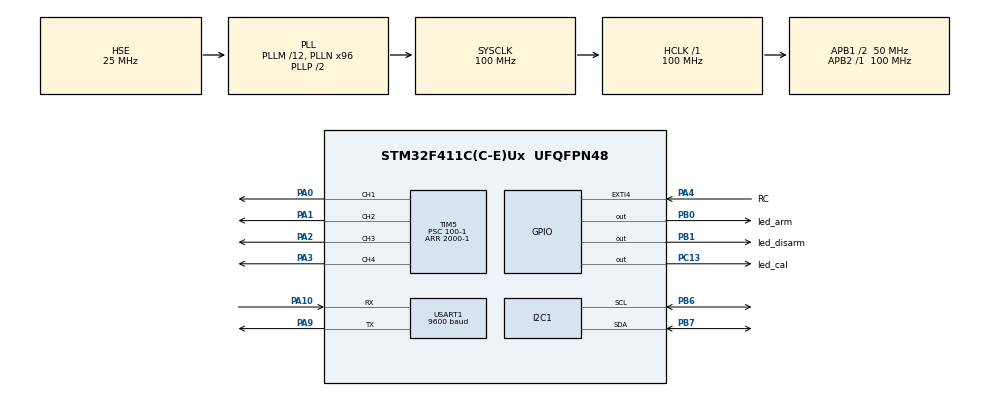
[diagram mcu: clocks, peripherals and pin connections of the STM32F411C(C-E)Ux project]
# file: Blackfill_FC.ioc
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Dma.Request0=USART1_RX
Dma.USART1_RX.0.Direction=DMA_PERIPH_TO_MEMORY
Dma.USART1_RX.0.FIFOMode=DMA_FIFOMODE_DISABLE
Dma.USART1_RX.0.Instance=DMA2_Stream2
Dma.USART1_RX.0.MemDataAlignment=DMA_MDATAALIGN_BYTE
Dma.USART1_RX.0.MemInc=DMA_MINC_ENABLE
Dma.USART1_RX.0.Mode=DMA_CIRCULAR
Dma.USART1_RX.0.PeriphDataAlignment=DMA_PDATAALIGN_BYTE
Dma.USART1_RX.0.PeriphInc=DMA_PINC_DISABLE
Dma.USART1_RX.0.Priority=DMA_PRIORITY_LOW
I2C1.I2C_Mode=I2C_Fast
Mcu.Family=STM32F4
Mcu.Name=STM32F411C(C-E)Ux
Mcu.Package=UFQFPN48
NVIC.DMA2_Stream2_IRQn=true\:0\:0\:false\:false\:true\:false\:true\:true
NVIC.EXTI4_IRQn=true\:0\:0\:false\:false\:true\:true\:true\:true
NVIC.PriorityGroup=NVIC_PRIORITYGROUP_4
NVIC.TIM1_TRG_COM_TIM11_IRQn=true\:0\:0\:false\:false\:true\:true\:true\:true
NVIC.USART1_IRQn=true\:0\:0\:false\:false\:true\:true\:true\:true
PA0-WKUP.Signal=S_TIM5_CH1
PA1.Signal=S_TIM5_CH2
PA10.Mode=Asynchronous
PA10.Signal=USART1_RX
PA13.Mode=Serial_Wire
PA13.Signal=SYS_JTMS-SWDIO
PA14.Mode=Serial_Wire
PA14.Signal=SYS_JTCK-SWCLK
PA2.Signal=S_TIM5_CH3
PA3.Signal=S_TIM5_CH4
PA4.GPIO_Label=RC
PA4.Signal=GPXTI4
PA9.Mode=Asynchronous
PA9.Signal=USART1_TX
PB0.GPIO_Label=led_arm
PB0.Signal=GPIO_Output
PB1.GPIO_Label=led_disarm
PB1.Signal=GPIO_Output
PB6.Mode=I2C
PB6.Signal=I2C1_SCL
PB7.Mode=I2C
PB7.Signal=I2C1_SDA
PC13-ANTI_TAMP.GPIO_Label=led_cal
PC13-ANTI_TAMP.Signal=GPIO_Output
PH0\ -\ OSC_IN.Mode=HSE-External-Oscillator
PH0\ -\ OSC_IN.Signal=RCC_OSC_IN
PH1\ -\ OSC_OUT.Mode=HSE-External-Oscillator
PH1\ -\ OSC_OUT.Signal=RCC_OSC_OUT
ProjectManager.HeapSize=0x200
ProjectManager.StackSize=0x400
ProjectManager.TargetToolchain=STM32CubeIDE
RCC.48MHZClocksFreq_Value=50000000
RCC.AHBFreq_Value=100000000
RCC.APB1CLKDivider=RCC_HCLK_DIV2
RCC.APB1Freq_Value=50000000
RCC.APB1TimFreq_Value=100000000
RCC.APB2Freq_Value=100000000
RCC.APB2TimFreq_Value=100000000
RCC.CortexFreq_Value=100000000
RCC.HCLKFreq_Value=100000000
RCC.HSE_VALUE=25000000
RCC.HSI_VALUE=16000000
RCC.LSE_VALUE=32768
RCC.PLLM=12
RCC.PLLN=96
RCC.PLLSourceVirtual=RCC_PLLSOURCE_HSE
RCC.SYSCLKFreq_VALUE=100000000
RCC.SYSCLKSource=RCC_SYSCLKSOURCE_PLLCLK
RCC.VCOOutputFreq_Value=200000000
SH.S_TIM5_CH1.0=TIM5_CH1,PWM Generation1 CH1
SH.S_TIM5_CH2.0=TIM5_CH2,PWM Generation2 CH2
SH.S_TIM5_CH3.0=TIM5_CH3,PWM Generation3 CH3
SH.S_TIM5_CH4.0=TIM5_CH4,PWM Generation4 CH4
TIM10.Prescaler=100-1
TIM11.Period=0xffff
TIM11.Prescaler=100-1
TIM5.Channel-PWM\ Generation1\ CH1=TIM_CHANNEL_1
TIM5.Channel-PWM\ Generation2\ CH2=TIM_CHANNEL_2
TIM5.Channel-PWM\ Generation3\ CH3=TIM_CHANNEL_3
TIM5.Channel-PWM\ Generation4\ CH4=TIM_CHANNEL_4
TIM5.Period=2000-1
TIM5.Prescaler=100-1
USART1.BaudRate=9600
USART1.VirtualMode=VM_ASYNC
VP_TIM10_VS_ClockSourceINT.Mode=Enable_Timer
VP_TIM11_VS_ClockSourceINT.Mode=Enable_Timer
VP_TIM5_VS_ClockSourceINT.Mode=Internal
board=custom

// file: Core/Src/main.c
/* USER CODE BEGIN Header */
/**
  ******************************************************************************
  * @file           : main.c
  * @brief          : Main program body
  ******************************cccc************************************************
  * @attention
  *
  * Copyright (c) 2023 STMicroelectronics.
  * All rights reserved.
  *
  * This software is licensed under terms that can be found in the LICENSE file
  * in the root directory of this software component.
  * If no LICENSE file comes with this software, it is provided AS-IS.
  *
  ******************************************************************************
  */
/* USER CODE END Header */
#include "main.h"

/* USER CODE BEGIN Includes */
#include "bmp280.h"
#include "HMC5883L.h"
#include "stdbool.h"
#include "math.h"
#include "stdlib.h"
#include "stdio.h"
#include "string.h"
/* USER CODE END Includes */

/* USER CODE BEGIN PD */
#define MPU6050_ADDR 0xD0

#define DLPF_CFG 0x1A
#define GYRO_CONFIG_REG 0x1B
#define ACCEL_CONFIG_REG 0x1C
#define ACCEL_XOUT_H_REG 0x3B
#define TEMP_OUT_H_REG 0x41
#define GYRO_XOUT_H_REG 0x43
#define PWR_MGMT_1_REG 0x6B
#define WHO_AM_I_REG 0x75
/* USER CODE END PD */

I2C_HandleTypeDef hi2c1;

TIM_HandleTypeDef htim5;
TIM_HandleTypeDef htim10;
TIM_HandleTypeDef htim11;

UART_HandleTypeDef huart1;
DMA_HandleTypeDef hdma_usart1_rx;

/* USER CODE BEGIN PV */

BMP280_HandleTypedef bmp280;
float pressure, temperature, humidity, altitude_sea, altitude, altitude_cal;
int32_t pressure_rotating_mem[50], pressure_total_avarage;
uint8_t pressure_rotating_mem_location;
float pressure_rotating_mem_actual;
float actual_pressure, actual_pressure_slow, actual_pressure_fast, actual_pressure_diff;

int16_t Accel_X_RAW = 0;
int16_t Accel_Y_RAW = 0;
int16_t Accel_Z_RAW = 0;

int16_t Gyro_X_RAW = 0;
int16_t Gyro_Y_RAW = 0;
int16_t Gyro_Z_RAW = 0;

float Ax, Ay, Az, Gx, Gy, Gz;

bool set_gyro_angle = true;

volatile long ch[8];
volatile long tick;
volatile uint8_t pulse;

int receiver_input_channel_1;
int receiver_input_channel_2;
int receiver_input_channel_3;
int receiver_input_channel_4;
int receiver_input_channel_5;
int receiver_input_channel_6;

int throttle;

long gyro_x_cal;
long gyro_y_cal;
long gyro_z_cal;

float angle_pitch_acc_cal;
float angle_roll_acc_cal;

int loop_timer;

long gyro_x_man = 278;
long gyro_y_man = -2898;
long gyro_z_man = 352;

long gyro_x;
long gyro_y;
long gyro_z;

long acc_x;
long acc_y;
long acc_z;
long acc_total_vector;

float angle_roll;
float angle_pitch;

//float angle_roll_output;
//float angle_pitch_output;

float angle_roll_acc;
float angle_pitch_acc;

float roll_level_adjust;
float pitch_level_adjust;

float gyro_roll_input;
float gyro_pitch_input;
float gyro_yaw_input;

float pid_roll_setpoint;
float pid_pitch_setpoint;
float pid_yaw_setpoint;

float pid_p_gain_roll		= 0.4;			//0.4
float pid_i_gain_roll		= 0.0015;			//0.0015
float pid_d_gain_roll		= 0.7;			//0.7

float pid_p_gain_pitch		= 0.4;			//0.4
float pid_i_gain_pitch		= 0.0015;			//0.0015
float pid_d_gain_pitch		= 0.7;			//0.7

float pid_p_gain_yaw		= 2;
float pid_i_gain_yaw		= 0.02;
float pid_d_gain_yaw		= 0;

float pid_i_mem_roll;
float pid_i_mem_pitch;
float pid_i_mem_yaw;

float pid_last_roll_d_error;
float pid_last_pitch_d_eroor;
float pid_last_yaw_d_error;

float pid_error_temp;

float pid_roll_output;
float pid_pitch_output;
float pid_yaw_output;

int pid_max_roll			= 400;
int pid_max_pitch			= 400;
int pid_max_yaw				= 400;

int esc_1 = 1000;
int esc_2= 1000;
int esc_3= 1000;
int esc_4= 1000;

int start;

int min_throthle = 1070;
int max_throthle = 2000;
int disable_motor = 1000;

float turning_speed = 3.0;
bool auto_level = true;
/* USER CODE END PV */

void SystemClock_Config(void);
static void MX_GPIO_Init(void);
static void MX_DMA_Init(void);
static void MX_I2C1_Init(void);
static void MX_USART1_UART_Init(void);
static void MX_TIM5_Init(void);
static void MX_TIM11_Init(void);
static void MX_TIM10_Init(void);
/* USER CODE BEGIN PFP */

void MPU6050_Init (void)
{
	uint8_t check;
	uint8_t Data;

	// check device ID WHO_AM_I

	HAL_I2C_Mem_Read (&hi2c1, MPU6050_ADDR,WHO_AM_I_REG,1, &check, 1, 1000);

	if (check == 104)  // 0x68 will be returned by the sensor if everything goes well
	{
		// power management register 0X6B we should write all 0's to wake the sensor up
		Data = 0;
		HAL_I2C_Mem_Write(&hi2c1, MPU6050_ADDR, PWR_MGMT_1_REG, 1,&Data, 1, 1000);

		// Set DATA RATE of 1KHz by writing SMPLRT_DIV register
		Data = 0x03;
		HAL_I2C_Mem_Write(&hi2c1, MPU6050_ADDR, DLPF_CFG, 1, &Data, 1, 1000);

		// Set accelerometer configuration in ACCEL_CONFIG Register
		// XA_ST=0,YA_ST=0,ZA_ST=0, FS_SEL=0 -> � 8g
		Data = 0x10;
		HAL_I2C_Mem_Write(&hi2c1, MPU6050_ADDR, ACCEL_CONFIG_REG, 1, &Data, 1, 1000);

		// Set Gyroscopic configuration in GYRO_CONFIG Register
		// XG_ST=0,YG_ST=0,ZG_ST=0, FS_SEL=0 -> � 500 �/s
		Data = 0x08;
		HAL_I2C_Mem_Write(&hi2c1, MPU6050_ADDR, GYRO_CONFIG_REG, 1, &Data, 1, 1000);
	}

}

void gyro_get_data(){

	uint8_t Accel_Val_Raw[6];
	HAL_I2C_Mem_Read(&hi2c1, MPU6050_ADDR, ACCEL_XOUT_H_REG, 1, Accel_Val_Raw, 6, 1000);

	acc_y = (int16_t) (Accel_Val_Raw[0] << 8 | Accel_Val_Raw [1]);
	acc_x = (int16_t) (Accel_Val_Raw[2] << 8 | Accel_Val_Raw [3]);
	acc_z = (int16_t) (Accel_Val_Raw[4] << 8 | Accel_Val_Raw [5]);

	uint8_t Gyro_Val_Raw[6];
	HAL_I2C_Mem_Read(&hi2c1, MPU6050_ADDR, GYRO_XOUT_H_REG, 1, Gyro_Val_Raw, 6, 1000);

	gyro_y = (int16_t) (Gyro_Val_Raw[0] << 8 | Gyro_Val_Raw [1]);
	gyro_x = (int16_t) (Gyro_Val_Raw[2] << 8 | Gyro_Val_Raw [3]);
	gyro_z = (int16_t) (Gyro_Val_Raw[4] << 8 | Gyro_Val_Raw [5]);

	gyro_x *= -1;
	//gyro_y *= -1;
	gyro_z *= -1;

}

void mpu6050_cal(){

	for( int i = 0; i < 2000; i++){
		if ( i % 15 == 0 ) HAL_GPIO_TogglePin(GPIOC, led_cal_Pin);
		gyro_get_data();

		gyro_x_cal += gyro_x;
		gyro_y_cal += gyro_y;
		gyro_z_cal += gyro_z;

		acc_total_vector = sqrt( ( acc_x*acc_x ) + ( acc_y * acc_y) + ( acc_z * acc_z ) );

		  if ( abs(acc_y) < acc_total_vector ){
			  angle_pitch_acc = asin( (float) acc_y / acc_total_vector ) * 57.296;
		  }

		  if ( abs(acc_x) < acc_total_vector ){
			  angle_roll_acc = asin( (float) acc_x / acc_total_vector ) * 57.296;
		  }

		  angle_pitch_acc_cal += angle_pitch_acc;
		  angle_roll_acc_cal += angle_roll_acc;

		HAL_Delay(4);

	}

	gyro_x_cal /= 2000;
	gyro_y_cal /= 2000;
	gyro_z_cal /= 2000;

	angle_pitch_acc_cal /= 2000;
	angle_roll_acc_cal /= 2000;
}

//void read_bmp280(){
//	bmp280_read_float(&bmp280, &temperature, &pressure, &humidity);
//	//altitude_sea=145442.2f*(1-powf(10,log(pressure/101325.0f)*(1.0f/5.255f)));
//}
//
//void do_altitude_cal(){
//	for( int i = 0; i < 2000; i++){
//			if ( i % 15 == 0 ) HAL_GPIO_TogglePin(GPIOC, led_cal_Pin);
//			read_bmp280();
//			altitude_cal += altitude;
//	}
//	altitude_cal /= 2000;
//}

/* USER CODE END PFP */

int main(void)
{

  /* MCU Configuration--------------------------------------------------------*/

  /* Reset of all peripherals, Initializes the Flash interface and the Systick. */
  HAL_Init();

  /* Configure the system clock */
  SystemClock_Config();

  /* Initialize all configured peripherals */
  MX_GPIO_Init();
  MX_DMA_Init();
  MX_I2C1_Init();
  MX_USART1_UART_Init();
  MX_TIM5_Init();
  MX_TIM11_Init();
  MX_TIM10_Init();
  /* USER CODE BEGIN 2 */
  HAL_Delay(100);
  HAL_TIM_Base_Start(&htim10);
  HAL_TIM_Base_Start(&htim11);

  HAL_TIM_PWM_Start(&htim5, TIM_CHANNEL_1);
  HAL_TIM_PWM_Start(&htim5, TIM_CHANNEL_2);
  HAL_TIM_PWM_Start(&htim5, TIM_CHANNEL_3);
  HAL_TIM_PWM_Start(&htim5, TIM_CHANNEL_4);
  HAL_Delay(100);

  __HAL_TIM_SET_COMPARE(&htim5,TIM_CHANNEL_1,0);
  __HAL_TIM_SET_COMPARE(&htim5,TIM_CHANNEL_2,0);
  __HAL_TIM_SET_COMPARE(&htim5,TIM_CHANNEL_3,0);
  __HAL_TIM_SET_COMPARE(&htim5,TIM_CHANNEL_4,0);

  HAL_Delay(100);

  HMC5883L_setRange (HMC5883L_RANGE_1_3GA);
  HMC5883L_setMeasurementMode (HMC5883L_CONTINOUS);
  HMC5883L_setDataRate (HMC5883L_DATARATE_15HZ);
  HMC5883L_setSamples (HMC5883L_SAMPLES_1);
  HMC5883L_setOffset (0, 0);

  bmp280_init_default_params(&bmp280.params);
  bmp280.addr = BMP280_I2C_ADDRESS_0;
  bmp280.i2c = &hi2c1;
  bmp280_init(&bmp280, &bmp280.params);

  MPU6050_Init();
  HAL_Delay(1000);
  mpu6050_cal();
  HAL_Delay(1000);
//  do_altitude_cal();

  loop_timer = __HAL_TIM_GET_COUNTER(&htim10);
  /* USER CODE END 2 */

  /* Infinite loop */
  while (1)
  {

    /* USER CODE BEGIN 3 */
//	HMC5883L_readNormalize ();
//
//	read_bmp280();
//	//altitude = abs(altitude - altitude_cal);
//    pressure_total_avarage -= pressure_rotating_mem[pressure_rotating_mem_location];                          //Subtract the current memory position to make room for the new value.
//    pressure_rotating_mem[pressure_rotating_mem_location] = pressure;                                                //Calculate the new change between the actual pressure and the previous measurement.
//    pressure_total_avarage += pressure_rotating_mem[pressure_rotating_mem_location];                          //Add the new value to the long term avarage value.
//    pressure_rotating_mem_location++;                                                                         //Increase the rotating memory location.
//    if (pressure_rotating_mem_location == 20)pressure_rotating_mem_location = 0;                              //Start at 0 when the memory location 20 is reached.
//    actual_pressure_fast = (float)pressure_total_avarage / 20.0;                                              //Calculate the average pressure of the last 20 pressure readings.
//
//    //To get better results we will use a complementary fillter that can be adjusted by the fast average.
//    actual_pressure_slow = actual_pressure_slow * (float)0.985 + actual_pressure_fast * (float)0.015;
//    actual_pressure_diff = actual_pressure_slow - actual_pressure_fast;                                       //Calculate the difference between the fast and the slow avarage value.
//    if (actual_pressure_diff > 8)actual_pressure_diff = 8;                                                    //If the difference is larger then 8 limit the difference to 8.
//    if (actual_pressure_diff < -8)actual_pressure_diff = -8;                                                  //If the difference is smaller then -8 limit the difference to -8.
//    //If the difference is larger then 1 or smaller then -1 the slow average is adjuste based on the error between the fast and slow average.
//    if (actual_pressure_diff > 1 || actual_pressure_diff < -1)actual_pressure_slow -= actual_pressure_diff / 6.0;
//    //actual_pressure = actual_pressure_slow;

	  receiver_input_channel_1 = ch[0];
	  receiver_input_channel_2 = ch[1];
	  receiver_input_channel_3 = ch[2];
	  receiver_input_channel_4 = ch[3];
	  receiver_input_channel_5 = ch[4];
	  receiver_input_channel_6 = ch[5];

	  gyro_get_data();

	  gyro_x -= gyro_x_cal;
	  gyro_y -= gyro_y_cal;
	  gyro_z -= gyro_z_cal;

//	  acc_x -= acc_x_cal;
//	  acc_y -= acc_y_cal;
//	  acc_z -= acc_z_cal;

	  gyro_pitch_input 	= ( gyro_pitch_input * 0.7 ) + ((float)( gyro_x / 65.5) * 0.3);
	  gyro_roll_input 	= ( gyro_roll_input * 0.7 ) + ((float)( gyro_y / 65.5) * 0.3);
	  gyro_yaw_input 	= ( gyro_yaw_input * 0.7 ) + ((float)( gyro_z / 65.5) * 0.3);

	  angle_pitch += gyro_x * 0.0000611;
	  angle_roll += gyro_y * 0.0000611;

	  angle_pitch -= angle_roll * sin(gyro_z * 0.000001066);
	  angle_roll += angle_pitch * sin(gyro_z * 0.000001066);

	  acc_total_vector = sqrt( ( acc_x*acc_x ) + ( acc_y * acc_y) + ( acc_z * acc_z ) );

	  if ( abs(acc_y) < acc_total_vector ){
		  angle_pitch_acc = asin( (float) acc_y / acc_total_vector ) * 57.296;
		  angle_pitch_acc -= angle_pitch_acc_cal;
	  }

	  if ( abs(acc_x) < acc_total_vector ){
		  angle_roll_acc = asin( (float) acc_x / acc_total_vector ) * 57.296;
		  angle_roll_acc -= angle_roll_acc_cal;
	  }

	  angle_pitch = angle_pitch * 0.9996 + angle_pitch_acc * 0.0004;
	  angle_roll = angle_roll * 0.9996 + angle_roll_acc * 0.0004;

	  //angle_pitch_acc -= 0.0;		// -1
	  //angle_roll_acc -= 0.0;		// -2.5

//	  if ( set_gyro_angle ) {
//
//	  }
//	  else{
//		  angle_pitch = angle_pitch_acc;
//		  angle_roll = angle_roll_acc;
//		  set_gyro_angle = true;
//	  }

		  pitch_level_adjust = angle_pitch * 15;
		  roll_level_adjust = angle_roll * 15;

//	  if ( !auto_level ){
//		  pitch_level_adjust =0;
//		  roll_level_adjust =0;
//	  }

//	  if ( receiver_input_channel_3 < 1050 && receiver_input_channel_4 < 1050 ) start =1;

	  if ( receiver_input_channel_6 > 1550 ){
		  start = 2;
		  HAL_GPIO_WritePin(led_arm_GPIO_Port, led_arm_Pin, 1);
		  HAL_GPIO_WritePin(led_disarm_GPIO_Port, led_disarm_Pin, 0);

		  //angle_pitch = angle_pitch_acc;
		  //angle_roll = angle_roll_acc;

		  pid_i_mem_roll = 0;
		  pid_last_roll_d_error = 0;
		  pid_i_mem_pitch = 0;
		  pid_last_pitch_d_eroor = 0;
		  pid_i_mem_yaw = 0;
		  pid_last_yaw_d_error = 0;
	  }

	  if ( start == 2 && receiver_input_channel_6 < 1450){
		  start =0;
		  HAL_GPIO_WritePin(led_arm_GPIO_Port, led_arm_Pin, 0);
		  HAL_GPIO_WritePin(led_disarm_GPIO_Port, led_disarm_Pin, 1);
	  }

	  pid_roll_setpoint =0;
	  if ( receiver_input_channel_1 > 1508 ) {
		  pid_roll_setpoint = (receiver_input_channel_1 - 1508);
	  }
	  else if ( receiver_input_channel_1  < 1492 ){
		  pid_roll_setpoint = ( receiver_input_channel_1  - 1492 );
	  }
	  else{
		  receiver_input_channel_1 = 1500;
	  }

	  pid_roll_setpoint -= roll_level_adjust;
	  pid_roll_setpoint /= turning_speed;

	  pid_pitch_setpoint =0;
	  if ( receiver_input_channel_2 > 1508 ) {
		  pid_pitch_setpoint = ( receiver_input_channel_2 - 1508 );
	  }
	  else if ( receiver_input_channel_2 < 1492 ) {
		  pid_pitch_setpoint = ( receiver_input_channel_2 - 1492 );
	  }
	  else{
	  	receiver_input_channel_2 = 1500;
	  }

	  pid_pitch_setpoint -= pitch_level_adjust;
	  pid_pitch_setpoint /= turning_speed;

	  pid_yaw_setpoint =0;
	  if ( receiver_input_channel_3 > 1050 ){
		  if ( receiver_input_channel_4 > 1508 ) {
			  pid_yaw_setpoint = ( receiver_input_channel_4 - 1508 ) / turning_speed;
		  }
		  else if ( receiver_input_channel_4 < 1492 ){
			  pid_yaw_setpoint = ( receiver_input_channel_4 - 1492 ) / turning_speed;
		  }
	  }
	  else{
	  	  receiver_input_channel_4 = 1500;
	  }

	  pid_error_temp = gyro_roll_input - pid_roll_setpoint;
	  pid_i_mem_roll += pid_i_gain_roll * pid_error_temp;

	  if ( pid_i_mem_roll > pid_max_roll ) pid_i_mem_roll = pid_max_roll;
	  else if ( pid_i_mem_roll < pid_max_roll * -1 ) pid_i_mem_roll = pid_max_roll * -1;

	  pid_roll_output = ( pid_p_gain_roll * pid_error_temp ) + pid_i_mem_roll + ( pid_d_gain_roll * ( pid_error_temp - pid_last_roll_d_error));

	  if ( pid_roll_output > pid_max_roll ) pid_roll_output = pid_max_roll;
	  else if ( pid_roll_output < pid_max_roll * -1) pid_roll_output = pid_max_roll * -1;

	  pid_last_roll_d_error = pid_error_temp;

	  pid_error_temp = gyro_pitch_input - pid_pitch_setpoint;
	  pid_i_mem_pitch += pid_i_gain_pitch * pid_error_temp;

	  if ( pid_i_mem_pitch > pid_max_pitch ) pid_i_mem_pitch = pid_max_pitch;
	  else if ( pid_i_mem_pitch < pid_max_pitch * -1 ) pid_i_mem_pitch = pid_max_pitch * -1;

	  pid_pitch_output = ( pid_p_gain_pitch * pid_error_temp ) + pid_i_mem_pitch + ( pid_d_gain_pitch * ( pid_error_temp - pid_last_pitch_d_eroor));

	  if ( pid_pitch_output > pid_max_pitch ) pid_pitch_output = pid_max_pitch;
	  else if ( pid_pitch_output < pid_max_pitch * -1 ) pid_pitch_output = pid_max_pitch * -1;

	  pid_last_pitch_d_eroor = pid_error_temp;

	  pid_error_temp = gyro_yaw_input - pid_yaw_setpoint;
	  pid_i_mem_yaw += pid_p_gain_yaw * pid_error_temp;

	  if ( pid_i_mem_yaw > pid_max_yaw ) pid_i_mem_yaw = pid_max_yaw;
	  else if ( pid_i_mem_yaw < pid_max_yaw * -1 ) pid_i_mem_yaw = pid_max_yaw * -1;

	  pid_yaw_output = ( pid_p_gain_yaw * pid_error_temp ) + pid_i_mem_yaw + ( pid_d_gain_yaw * ( pid_error_temp - pid_last_yaw_d_error ));

	  if ( pid_yaw_output > pid_max_yaw ) pid_yaw_output = pid_max_yaw;
	  else if ( pid_yaw_output < pid_max_yaw * -1 ) pid_yaw_output = pid_max_yaw * -1;

	  pid_last_yaw_d_error = pid_error_temp;

	  throttle = receiver_input_channel_3;

	  if ( start == 2 ){
		  if ( throttle > 1800 ) throttle = 1800;

		  esc_1 = throttle - pid_pitch_output + pid_roll_output - pid_yaw_output;
		  esc_2 = throttle + pid_pitch_output + pid_roll_output + pid_yaw_output;
		  esc_3 = throttle + pid_pitch_output - pid_roll_output - pid_yaw_output;
		  esc_4 = throttle - pid_pitch_output - pid_roll_output + pid_yaw_output;

		  if ( esc_1 < min_throthle ) esc_1 = min_throthle;
		  if ( esc_2 < min_throthle ) esc_2 = min_throthle;
		  if ( esc_3 < min_throthle ) esc_3 = min_throthle;
		  if ( esc_4 < min_throthle ) esc_4 = min_throthle;

		  if ( esc_1 > max_throthle ) esc_1 = max_throthle;
		  if ( esc_2 > max_throthle ) esc_2 = max_throthle;
		  if ( esc_3 > max_throthle ) esc_3 = max_throthle;
		  if ( esc_4 > max_throthle ) esc_4 = max_throthle;

	  }else{
		  esc_1 = disable_motor;
		  esc_2 = disable_motor;
		  esc_3 = disable_motor;
		  esc_4 = disable_motor;
	  }

	  __HAL_TIM_SET_COMPARE(&htim5,TIM_CHANNEL_1,esc_1);
	  __HAL_TIM_SET_COMPARE(&htim5,TIM_CHANNEL_2,esc_2);
	  __HAL_TIM_SET_COMPARE(&htim5,TIM_CHANNEL_3,esc_3);
	  __HAL_TIM_SET_COMPARE(&htim5,TIM_CHANNEL_4,esc_4);

	//	  if ( __HAL_TIM_GET_COUNTER(&htim13) - loop_timer > 4070 ){
	//		  HAL_GPIO_TogglePin(led_status_GPIO_Port, led_status_Pin);
	//	  }

	  while ( __HAL_TIM_GET_COUNTER(&htim10) - loop_timer < 4000 );
	  loop_timer = __HAL_TIM_GET_COUNTER(&htim10);
    /* USER CODE END WHILE */

    /* USER CODE BEGIN 3 */
  }
  /* USER CODE END 3 */
}

void SystemClock_Config(void)
{
  RCC_OscInitTypeDef RCC_OscInitStruct = {0};
  RCC_ClkInitTypeDef RCC_ClkInitStruct = {0};

  /** Configure the main internal regulator output voltage
  */
  __HAL_RCC_PWR_CLK_ENABLE();
  __HAL_PWR_VOLTAGESCALING_CONFIG(PWR_REGULATOR_VOLTAGE_SCALE1);

  /** Initializes the RCC Oscillators according to the specified parameters
  * in the RCC_OscInitTypeDef structure.
  */
  RCC_OscInitStruct.OscillatorType = RCC_OSCILLATORTYPE_HSE;
  RCC_OscInitStruct.HSEState = RCC_HSE_ON;
  RCC_OscInitStruct.PLL.PLLState = RCC_PLL_ON;
  RCC_OscInitStruct.PLL.PLLSource = RCC_PLLSOURCE_HSE;
  RCC_OscInitStruct.PLL.PLLM = 12;
  RCC_OscInitStruct.PLL.PLLN = 96;
  RCC_OscInitStruct.PLL.PLLP = RCC_PLLP_DIV2;
  RCC_OscInitStruct.PLL.PLLQ = 4;
  if (HAL_RCC_OscConfig(&RCC_OscInitStruct) != HAL_OK)
  {
    Error_Handler();
  }

  /** Initializes the CPU, AHB and APB buses clocks
  */
  RCC_ClkInitStruct.ClockType = RCC_CLOCKTYPE_HCLK|RCC_CLOCKTYPE_SYSCLK
                              |RCC_CLOCKTYPE_PCLK1|RCC_CLOCKTYPE_PCLK2;
  RCC_ClkInitStruct.SYSCLKSource = RCC_SYSCLKSOURCE_PLLCLK;
  RCC_ClkInitStruct.AHBCLKDivider = RCC_SYSCLK_DIV1;
  RCC_ClkInitStruct.APB1CLKDivider = RCC_HCLK_DIV2;
  RCC_ClkInitStruct.APB2CLKDivider = RCC_HCLK_DIV1;

  if (HAL_RCC_ClockConfig(&RCC_ClkInitStruct, FLASH_LATENCY_3) != HAL_OK)
  {
    Error_Handler();
  }
}

static void MX_I2C1_Init(void)
{

  hi2c1.Instance = I2C1;
  hi2c1.Init.ClockSpeed = 400000;
  hi2c1.Init.DutyCycle = I2C_DUTYCYCLE_2;
  hi2c1.Init.OwnAddress1 = 0;
  hi2c1.Init.AddressingMode = I2C_ADDRESSINGMODE_7BIT;
  hi2c1.Init.DualAddressMode = I2C_DUALADDRESS_DISABLE;
  hi2c1.Init.OwnAddress2 = 0;
  hi2c1.Init.GeneralCallMode = I2C_GENERALCALL_DISABLE;
  hi2c1.Init.NoStretchMode = I2C_NOSTRETCH_DISABLE;
  if (HAL_I2C_Init(&hi2c1) != HAL_OK)
  {
    Error_Handler();
  }

}

static void MX_TIM5_Init(void)
{

  TIM_ClockConfigTypeDef sClockSourceConfig = {0};
  TIM_MasterConfigTypeDef sMasterConfig = {0};
  TIM_OC_InitTypeDef sConfigOC = {0};

  htim5.Instance = TIM5;
  htim5.Init.Prescaler = 100-1;
  htim5.Init.CounterMode = TIM_COUNTERMODE_UP;
  htim5.Init.Period = 2000-1;
  htim5.Init.ClockDivision = TIM_CLOCKDIVISION_DIV1;
  htim5.Init.AutoReloadPreload = TIM_AUTORELOAD_PRELOAD_DISABLE;
  if (HAL_TIM_Base_Init(&htim5) != HAL_OK)
  {
    Error_Handler();
  }
  sClockSourceConfig.ClockSource = TIM_CLOCKSOURCE_INTERNAL;
  if (HAL_TIM_ConfigClockSource(&htim5, &sClockSourceConfig) != HAL_OK)
  {
    Error_Handler();
  }
  if (HAL_TIM_PWM_Init(&htim5) != HAL_OK)
  {
    Error_Handler();
  }
  sMasterConfig.MasterOutputTrigger = TIM_TRGO_RESET;
  sMasterConfig.MasterSlaveMode = TIM_MASTERSLAVEMODE_DISABLE;
  if (HAL_TIMEx_MasterConfigSynchronization(&htim5, &sMasterConfig) != HAL_OK)
  {
    Error_Handler();
  }
  sConfigOC.OCMode = TIM_OCMODE_PWM1;
  sConfigOC.Pulse = 0;
  sConfigOC.OCPolarity = TIM_OCPOLARITY_HIGH;
  sConfigOC.OCFastMode = TIM_OCFAST_DISABLE;
  if (HAL_TIM_PWM_ConfigChannel(&htim5, &sConfigOC, TIM_CHANNEL_1) != HAL_OK)
  {
    Error_Handler();
  }
  if (HAL_TIM_PWM_ConfigChannel(&htim5, &sConfigOC, TIM_CHANNEL_2) != HAL_OK)
  {
    Error_Handler();
  }
  if (HAL_TIM_PWM_ConfigChannel(&htim5, &sConfigOC, TIM_CHANNEL_3) != HAL_OK)
  {
    Error_Handler();
  }
  if (HAL_TIM_PWM_ConfigChannel(&htim5, &sConfigOC, TIM_CHANNEL_4) != HAL_OK)
  {
    Error_Handler();
  }
  HAL_TIM_MspPostInit(&htim5);

}

static void MX_TIM10_Init(void)
{

  htim10.Instance = TIM10;
  htim10.Init.Prescaler = 100-1;
  htim10.Init.CounterMode = TIM_COUNTERMODE_UP;
  htim10.Init.Period = 65535;
  htim10.Init.ClockDivision = TIM_CLOCKDIVISION_DIV1;
  htim10.Init.AutoReloadPreload = TIM_AUTORELOAD_PRELOAD_DISABLE;
  if (HAL_TIM_Base_Init(&htim10) != HAL_OK)
  {
    Error_Handler();
  }

}

static void MX_TIM11_Init(void)
{

  htim11.Instance = TIM11;
  htim11.Init.Prescaler = 100-1;
  htim11.Init.CounterMode = TIM_COUNTERMODE_UP;
  htim11.Init.Period = 0xffff;
  htim11.Init.ClockDivision = TIM_CLOCKDIVISION_DIV1;
  htim11.Init.AutoReloadPreload = TIM_AUTORELOAD_PRELOAD_DISABLE;
  if (HAL_TIM_Base_Init(&htim11) != HAL_OK)
  {
    Error_Handler();
  }

}

static void MX_USART1_UART_Init(void)
{

  huart1.Instance = USART1;
  huart1.Init.BaudRate = 9600;
  huart1.Init.WordLength = UART_WORDLENGTH_8B;
  huart1.Init.StopBits = UART_STOPBITS_1;
  huart1.Init.Parity = UART_PARITY_NONE;
  huart1.Init.Mode = UART_MODE_TX_RX;
  huart1.Init.HwFlowCtl = UART_HWCONTROL_NONE;
  huart1.Init.OverSampling = UART_OVERSAMPLING_16;
  if (HAL_UART_Init(&huart1) != HAL_OK)
  {
    Error_Handler();
  }

}

static void MX_DMA_Init(void)
{

  /* DMA controller clock enable */
  __HAL_RCC_DMA2_CLK_ENABLE();

  /* DMA interrupt init */
  /* DMA2_Stream2_IRQn interrupt configuration */
  HAL_NVIC_SetPriority(DMA2_Stream2_IRQn, 0, 0);
  HAL_NVIC_EnableIRQ(DMA2_Stream2_IRQn);

}

static void MX_GPIO_Init(void)
{
  GPIO_InitTypeDef GPIO_InitStruct = {0};

  /* GPIO Ports Clock Enable */
  __HAL_RCC_GPIOC_CLK_ENABLE();
  __HAL_RCC_GPIOH_CLK_ENABLE();
  __HAL_RCC_GPIOA_CLK_ENABLE();
  __HAL_RCC_GPIOB_CLK_ENABLE();

  /*Configure GPIO pin Output Level */
  HAL_GPIO_WritePin(led_cal_GPIO_Port, led_cal_Pin, GPIO_PIN_RESET);

  /*Configure GPIO pin Output Level */
  HAL_GPIO_WritePin(GPIOB, led_arm_Pin|led_disarm_Pin, GPIO_PIN_RESET);

  /*Configure GPIO pin : led_cal_Pin */
  GPIO_InitStruct.Pin = led_cal_Pin;
  GPIO_InitStruct.Mode = GPIO_MODE_OUTPUT_PP;
  GPIO_InitStruct.Pull = GPIO_NOPULL;
  GPIO_InitStruct.Speed = GPIO_SPEED_FREQ_LOW;
  HAL_GPIO_Init(led_cal_GPIO_Port, &GPIO_InitStruct);

  /*Configure GPIO pin : RC_Pin */
  GPIO_InitStruct.Pin = RC_Pin;
  GPIO_InitStruct.Mode = GPIO_MODE_IT_RISING;
  GPIO_InitStruct.Pull = GPIO_NOPULL;
  HAL_GPIO_Init(RC_GPIO_Port, &GPIO_InitStruct);

  /*Configure GPIO pins : led_arm_Pin led_disarm_Pin */
  GPIO_InitStruct.Pin = led_arm_Pin|led_disarm_Pin;
  GPIO_InitStruct.Mode = GPIO_MODE_OUTPUT_PP;
  GPIO_InitStruct.Pull = GPIO_NOPULL;
  GPIO_InitStruct.Speed = GPIO_SPEED_FREQ_LOW;
  HAL_GPIO_Init(GPIOB, &GPIO_InitStruct);

  /* EXTI interrupt init*/
  HAL_NVIC_SetPriority(EXTI4_IRQn, 0, 0);
  HAL_NVIC_EnableIRQ(EXTI4_IRQn);

}

/* USER CODE BEGIN 4 */
void HAL_GPIO_EXTI_Callback(uint16_t GPIO_Pin){

	if ( GPIO_Pin == RC_Pin){
		tick = __HAL_TIM_GET_COUNTER(&htim11);
		__HAL_TIM_SET_COUNTER(&htim11,0);

		if ( tick < 2100){
			ch[pulse] = tick;
			pulse++;
		}
		else{
			__HAL_TIM_SET_COUNTER(&htim11,0);
			pulse =0;
		}

	}

}

/* USER CODE END 4 */

void Error_Handler(void)
{
  __disable_irq();
  while (1)
  {
  }
}
